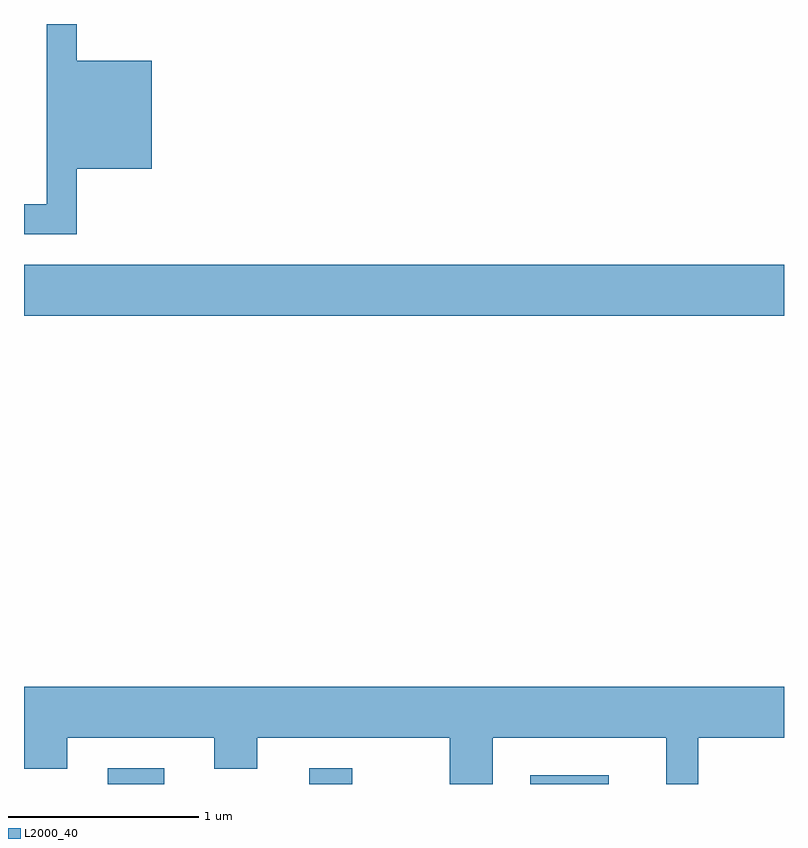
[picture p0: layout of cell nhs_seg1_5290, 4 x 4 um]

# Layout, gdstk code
import gdstk
lib = gdstk.Library(unit=1e-6, precision=1e-09)
def R(c, l, rs):  # rectangles x0, y0, x1, y1
    for r in rs: c.add(gdstk.rectangle(r[:2], r[2:], *l))
def P(c, l, *ps):  # polygons
    for p in ps: c.add(gdstk.Polygon(p, *l))
L2000_40 = (2000, 40)

nhs_seg1_5290 = lib.new_cell('nhs_seg1_5290')
R(nhs_seg1_5290, L2000_40, [(344.051,963.712,344.349,963.794), (345.111,963.712,345.339,963.794), (346.276,963.712,346.689,963.759), (343.611,966.176,347.611,966.444)])
P(nhs_seg1_5290, L2000_40, [(343.889,966.951),(344.284,966.951),(344.284,967.519),(343.889,967.519),(343.889,967.712),(343.731,967.712),(343.731,966.764),(343.611,966.764),(343.611,966.606),(343.889,966.606)],
  [(346.079,963.956),(346.991,963.956),(346.991,963.712),(347.159,963.712),(347.159,963.956),(347.611,963.956),(347.611,964.224),(343.611,964.224),(343.611,963.791),(343.839,963.791),(343.839,963.956),(344.611,963.956),(344.611,963.791),(344.839,963.791),(344.839,963.956),(345.851,963.956),(345.851,963.712),(346.079,963.712)])

lib.write_gds('nhs_seg1_5290.gds')
